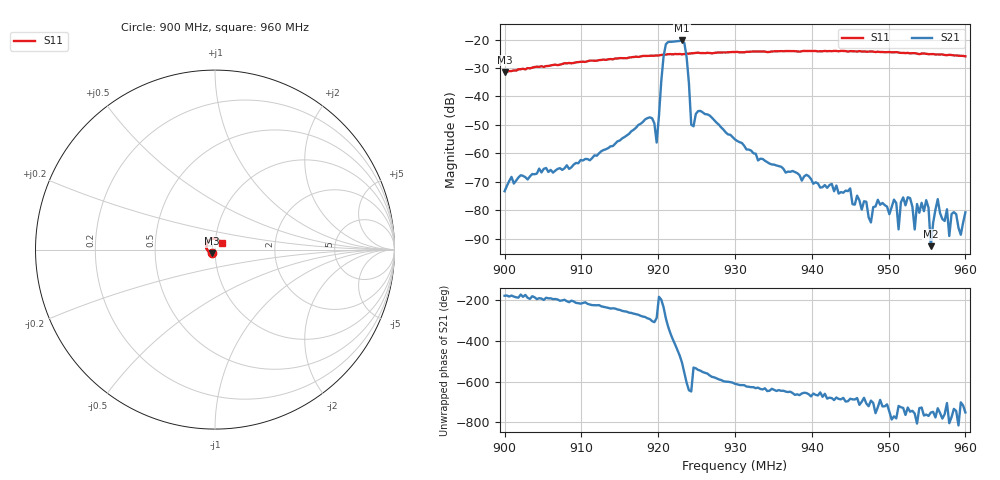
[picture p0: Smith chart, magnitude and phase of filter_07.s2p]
!File created by NanoVNA-F V2
# Hz S RI R 50
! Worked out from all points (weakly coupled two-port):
!   201 points, 900 MHz to 960 MHz, reference 50 ohm
!   highest |S21| = -20.34 dB at 923.1 MHz (marker M1); lowest = -92.6 dB at 955.5 MHz (marker M2)
!   lowest |S11| = -31.4 dB at 900 MHz (marker M3), VSWR 1.06, Z = 48.4 - j2.09 ohm
!   |S11| at or under -10 dB: start of sweep to end of sweep
!   S12 and S22 are empty: the file has one direction only
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9e8  -0.016 -0.0216  -0.000215 -1.2e-05  0 0  0 0
9.009e8  -0.0182 -0.0211  -0.000384 -2.7e-05  0 0  0 0
9.102e8  -0.0404 -0.00583  -0.000629 0.000403  0 0  0 0
9.189e8  -0.0484 0.0181  0.00155 0.00399  0 0  0 0
9.195e8  -0.0479 0.02  0.00201 0.00269  0 0  0 0
9.198e8  -0.0479 0.0212  0.000425 0.00148  0 0  0 0
9.201e8  -0.0477 0.0217  -0.00459 0.00017  0 0  0 0
9.207e8  -0.0484 0.0236  -0.0302 0.0407  0 0  0 0
9.21e8  -0.0489 0.024  0.0263 0.0784  0 0  0 0
9.231e8  -0.046 0.0301  -0.0799 -0.0536  0 0  0 0
9.237e8  -0.0466 0.0311  -0.0213 0.0442  0 0  0 0
9.243e8  -0.0458 0.0335  0.000965 0.00304  0 0  0 0
9.255e8  -0.0444 0.0369  -0.00553 0.000505  0 0  0 0
9.3e8  -0.0373 0.0472  -0.000605 0.00164  0 0  0 0
9.402e8  -0.0111 0.0618  0.000136 0.000258  0 0  0 0
9.501e8  0.0165 0.0578  7.6e-05 -3.8e-05  0 0  0 0
9.525e8  0.0233 0.0533  0.000168 -1.9e-05  0 0  0 0
9.534e8  0.0254 0.0515  3.7e-05 -2.7e-05  0 0  0 0
9.555e8  0.0317 0.0454  2e-05 -1.2e-05  0 0  0 0
9.564e8  0.0317 0.0446  0.000154 -2.7e-05  0 0  0 0
9.567e8  0.0322 0.0439  7.4e-05 -4.9e-05  0 0  0 0
9.6e8  0.0372 0.0343  7.9e-05 -4.7e-05  0 0  0 0
